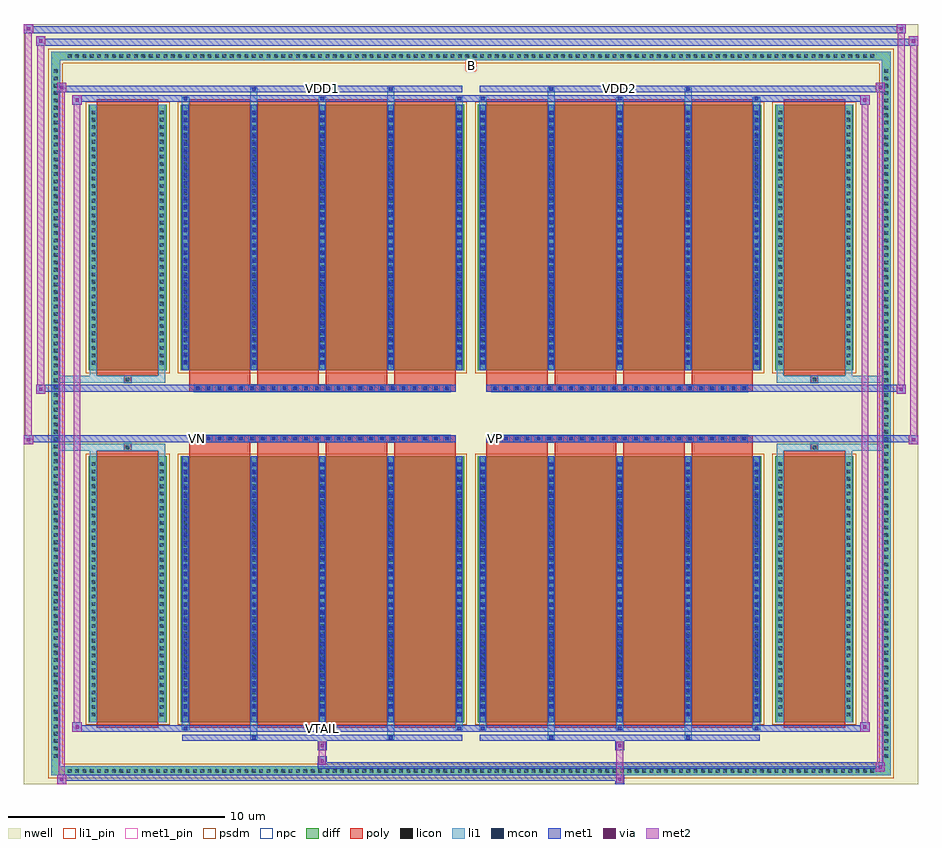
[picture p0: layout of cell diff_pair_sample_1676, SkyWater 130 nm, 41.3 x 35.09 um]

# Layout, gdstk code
import gdstk
lib = gdstk.Library(unit=1e-6, precision=5e-09)
def R(c, l, rs):  # rectangles x0, y0, x1, y1
    for r in rs: c.add(gdstk.rectangle(r[:2], r[2:], *l))
def A(c, l, x, y, w, h, nx, ny, dx, dy):  # array of equal rectangles
    R(c, l, [(x+i*dx, y+j*dy, x+i*dx+w, y+j*dy+h) for i in range(nx) for j in range(ny)])
def P(c, l, *ps):  # polygons
    for p in ps: c.add(gdstk.Polygon(p, *l))
nwell = (64, 20)
diff = (65, 20)
poly = (66, 20)
licon = (66, 44)
li1_pin = (67, 16)
li1 = (67, 20)
mcon = (67, 44)
met1_pin = (68, 16)
met1 = (68, 20)
via = (68, 44)
met2 = (69, 20)
psdm = (94, 20)
npc = (95, 20)

diff_pair_sample_1676 = lib.new_cell('diff_pair_sample_1676')
R(diff_pair_sample_1676, nwell, [(-20.65,-17.11,20.65,17.98), (-17.97,-15.3,-0.01,-0.8), (0.01,-15.3,17.97,-0.8), (-17.97,0.8,-0.01,15.3), (0.01,0.8,17.97,15.3)])
A(diff_pair_sample_1676, diff, -18.735, -16.71, 0.41, 0.41, 110, 2, 0.34, 33.01)
A(diff_pair_sample_1676, diff, -19.38, -16.015, 0.41, 0.41, 1, 94, 0, 0.34)
A(diff_pair_sample_1676, diff, 18.97, -16.015, 0.41, 0.41, 1, 94, 0, 0.34)
R(diff_pair_sample_1676, diff, [(-18.735,-16.71,18.735,-16.3), (-19.38,-16.015,-18.97,16.015), (18.97,-16.015,19.38,16.015), (-17.66,-14.255,-14.05,-1.985), (-13.41,-14.255,-0.32,-1.985), (0.32,-14.255,13.41,-1.985), (14.05,-14.255,17.66,-1.985), (-17.66,1.985,-14.05,14.255), (-13.41,1.985,-0.32,14.255), (0.32,1.985,13.41,14.255), (14.05,1.985,17.66,14.255), (-18.735,16.3,18.735,16.71)])
P(diff_pair_sample_1676, diff, [(19.38,16.71),(-19.38,16.71),(-19.38,-16.3),(-18.97,-16.3),(-18.97,16.3),(18.97,16.3),(18.97,-16.3),(-18.97,-16.3),(-19.38,-16.3),(-19.38,-16.71),(19.38,-16.71)])
A(diff_pair_sample_1676, poly, -13.02, -14.505, 2.83, 12.77, 4, 2, 3.16, 16.24)
A(diff_pair_sample_1676, poly, 0.71, -14.505, 2.83, 12.77, 4, 2, 3.16, 16.24)
A(diff_pair_sample_1676, poly, -13.02, -1.735, 2.83, 0.405, 4, 2, 3.16, 3.065)
A(diff_pair_sample_1676, poly, 0.71, -1.735, 2.83, 0.405, 4, 2, 3.16, 3.065)
A(diff_pair_sample_1676, poly, -12.78, -1.33, 0.33, 0.33, 24, 2, 0.5, 2.33)
A(diff_pair_sample_1676, poly, 0.95, -1.33, 0.33, 0.33, 24, 2, 0.5, 2.33)
R(diff_pair_sample_1676, poly, [(-17.27,-14.505,-14.44,-1.735), (14.44,-14.505,17.27,-1.735), (-16.02,-1.735,-15.69,-1.405), (-16.02,-1.735,-15.69,-1.405), (15.69,-1.735,16.02,-1.405), (15.69,-1.735,16.02,-1.405), (-13.02,-1.33,-0.71,-1), (0.71,-1.33,13.02,-1), (-13.02,1,-0.71,1.33), (0.71,1,13.02,1.33), (-16.02,1.405,-15.69,1.735), (-16.02,1.405,-15.69,1.735), (15.69,1.405,16.02,1.735), (15.69,1.405,16.02,1.735), (-17.27,1.735,-14.44,14.505), (14.44,1.735,17.27,14.505)])
A(diff_pair_sample_1676, licon, -18.615, -16.59, 0.17, 0.17, 110, 2, 0.34, 33.01)
A(diff_pair_sample_1676, licon, -19.26, -15.895, 0.17, 0.17, 1, 94, 0, 0.34)
A(diff_pair_sample_1676, licon, 19.09, -15.895, 0.17, 0.17, 1, 94, 0, 0.34)
A(diff_pair_sample_1676, licon, -17.52, -13.985, 0.17, 0.17, 1, 35, 0, 0.34)
A(diff_pair_sample_1676, licon, -14.36, -13.985, 0.17, 0.17, 1, 35, 0, 0.34)
A(diff_pair_sample_1676, licon, -13.27, -13.985, 0.17, 0.17, 5, 35, 3.16, 0.34)
A(diff_pair_sample_1676, licon, 0.46, -13.985, 0.17, 0.17, 5, 35, 3.16, 0.34)
A(diff_pair_sample_1676, licon, 14.19, -13.985, 0.17, 0.17, 1, 35, 0, 0.34)
A(diff_pair_sample_1676, licon, 17.35, -13.985, 0.17, 0.17, 1, 35, 0, 0.34)
A(diff_pair_sample_1676, licon, -12.7, -1.25, 0.17, 0.17, 24, 2, 0.5, 2.33)
A(diff_pair_sample_1676, licon, 1.03, -1.25, 0.17, 0.17, 24, 2, 0.5, 2.33)
A(diff_pair_sample_1676, licon, -17.52, 2.255, 0.17, 0.17, 1, 35, 0, 0.34)
A(diff_pair_sample_1676, licon, -14.36, 2.255, 0.17, 0.17, 1, 35, 0, 0.34)
A(diff_pair_sample_1676, licon, -13.27, 2.255, 0.17, 0.17, 5, 35, 3.16, 0.34)
A(diff_pair_sample_1676, licon, 0.46, 2.255, 0.17, 0.17, 5, 35, 3.16, 0.34)
A(diff_pair_sample_1676, licon, 14.19, 2.255, 0.17, 0.17, 1, 35, 0, 0.34)
A(diff_pair_sample_1676, licon, 17.35, 2.255, 0.17, 0.17, 1, 35, 0, 0.34)
R(diff_pair_sample_1676, licon, [(-15.94,-1.655,-15.77,-1.485), (15.77,-1.655,15.94,-1.485), (-15.94,1.485,-15.77,1.655), (15.77,1.485,15.94,1.655)])
R(diff_pair_sample_1676, li1_pin, [(-0.25,15.8,0.25,16.3)])
A(diff_pair_sample_1676, li1, -18.695, -16.67, 0.33, 0.33, 110, 2, 0.34, 33.01)
A(diff_pair_sample_1676, li1, -19.34, -15.975, 0.33, 0.33, 1, 94, 0, 0.34)
A(diff_pair_sample_1676, li1, 19.01, -15.975, 0.33, 0.33, 1, 94, 0, 0.34)
A(diff_pair_sample_1676, li1, -13.35, -14.63, 0.33, 0.375, 3, 2, 6.32, 28.885)
A(diff_pair_sample_1676, li1, -13.27, -14.63, 0.17, 0.17, 3, 2, 6.32, 29.09)
A(diff_pair_sample_1676, li1, 0.38, -14.63, 0.33, 0.375, 3, 2, 6.32, 28.885)
A(diff_pair_sample_1676, li1, 0.46, -14.63, 0.17, 0.17, 3, 2, 6.32, 29.09)
A(diff_pair_sample_1676, li1, -13.35, -14.255, 0.33, 12.27, 5, 2, 3.16, 16.24)
A(diff_pair_sample_1676, li1, 0.38, -14.255, 0.33, 12.27, 5, 2, 3.16, 16.24)
A(diff_pair_sample_1676, li1, -17.6, -14.065, 0.33, 0.33, 1, 35, 0, 0.34)
A(diff_pair_sample_1676, li1, -14.44, -14.065, 0.33, 0.33, 1, 35, 0, 0.34)
A(diff_pair_sample_1676, li1, -13.35, -14.065, 0.33, 0.33, 5, 35, 3.16, 0.34)
A(diff_pair_sample_1676, li1, 0.38, -14.065, 0.33, 0.33, 5, 35, 3.16, 0.34)
A(diff_pair_sample_1676, li1, 14.11, -14.065, 0.33, 0.33, 1, 35, 0, 0.34)
A(diff_pair_sample_1676, li1, 17.27, -14.065, 0.33, 0.33, 1, 35, 0, 0.34)
A(diff_pair_sample_1676, li1, -13.27, -13.965, 0.17, 0.17, 5, 33, 3.16, 0.36)
A(diff_pair_sample_1676, li1, -13.27, -13.965, 0.17, 11.69, 5, 2, 3.16, 16.24)
A(diff_pair_sample_1676, li1, 0.46, -13.965, 0.17, 0.17, 5, 33, 3.16, 0.36)
A(diff_pair_sample_1676, li1, 0.46, -13.965, 0.17, 11.69, 5, 2, 3.16, 16.24)
A(diff_pair_sample_1676, li1, -12.78, -1.33, 0.33, 0.33, 24, 2, 0.5, 2.33)
A(diff_pair_sample_1676, li1, 0.95, -1.33, 0.33, 0.33, 24, 2, 0.5, 2.33)
A(diff_pair_sample_1676, li1, -17.6, 2.175, 0.33, 0.33, 1, 35, 0, 0.34)
A(diff_pair_sample_1676, li1, -14.44, 2.175, 0.33, 0.33, 1, 35, 0, 0.34)
A(diff_pair_sample_1676, li1, -13.35, 2.175, 0.33, 0.33, 5, 35, 3.16, 0.34)
A(diff_pair_sample_1676, li1, 0.38, 2.175, 0.33, 0.33, 5, 35, 3.16, 0.34)
A(diff_pair_sample_1676, li1, 14.11, 2.175, 0.33, 0.33, 1, 35, 0, 0.34)
A(diff_pair_sample_1676, li1, 17.27, 2.175, 0.33, 0.33, 1, 35, 0, 0.34)
A(diff_pair_sample_1676, li1, -13.27, 2.275, 0.17, 0.17, 5, 33, 3.16, 0.36)
A(diff_pair_sample_1676, li1, 0.46, 2.275, 0.17, 0.17, 5, 33, 3.16, 0.36)
R(diff_pair_sample_1676, li1, [(-19.38,-16.71,-18.97,-16.3), (-19.38,-16.71,-18.97,-16.3), (-18.97,-16.71,18.97,-16.3), (18.97,-16.71,19.38,-16.3), (18.97,-16.71,19.38,-16.3), (-19.38,-16.3,-18.97,16.3), (18.97,-16.3,19.38,16.3), (-10.19,-15.06,-9.86,-14.255), (-10.11,-15.06,-9.94,-14.89), (-3.87,-15.06,-3.54,-14.255), (-3.79,-15.06,-3.62,-14.89), (3.54,-15.06,3.87,-14.255), (3.62,-15.06,3.79,-14.89), (9.86,-15.06,10.19,-14.255), (9.94,-15.06,10.11,-14.89), (-17.6,-14.255,-17.27,-1.985), (-14.44,-14.255,-14.11,-1.985), (14.11,-14.255,14.44,-1.985), (17.27,-14.255,17.6,-1.985), (-17.6,-1.985,-17.27,-1.405), (-14.44,-1.985,-14.11,-1.405), (14.11,-1.985,14.44,-1.405), (17.27,-1.985,17.6,-1.405), (-19.38,-1.735,-16.02,-1.405), (-17.6,-1.735,-16.02,-1.405), (-16.02,-1.735,-15.69,-1.405), (-15.69,-1.735,-14.11,-1.405), (14.11,-1.735,15.69,-1.405), (15.69,-1.735,16.02,-1.405), (15.69,-1.735,19.38,-1.405), (16.02,-1.735,17.6,-1.405), (-19.38,1.405,-16.02,1.735), (-17.6,1.405,-16.02,1.735), (-17.6,1.405,-17.27,1.985), (-16.02,1.405,-15.69,1.735), (-15.69,1.405,-14.11,1.735), (-14.44,1.405,-14.11,1.985), (14.11,1.405,15.69,1.735), (14.11,1.405,14.44,1.985), (15.69,1.405,16.02,1.735), (15.69,1.405,19.38,1.735), (16.02,1.405,17.6,1.735), (17.27,1.405,17.6,1.985), (-17.6,1.985,-17.27,14.255), (-14.44,1.985,-14.11,14.255), (14.11,1.985,14.44,14.255), (17.27,1.985,17.6,14.255), (-10.19,14.255,-9.86,15.06), (-3.87,14.255,-3.54,15.06), (3.54,14.255,3.87,15.06), (9.86,14.255,10.19,15.06), (-10.11,14.89,-9.94,15.06), (-3.79,14.89,-3.62,15.06), (3.62,14.89,3.79,15.06), (9.94,14.89,10.11,15.06), (-19.38,16.3,-18.97,16.71), (-19.38,16.3,-18.97,16.71), (-18.97,16.3,18.97,16.71), (18.97,16.3,19.38,16.71), (18.97,16.3,19.38,16.71)])
A(diff_pair_sample_1676, mcon, -13.27, -14.63, 0.17, 0.17, 3, 2, 6.32, 29.09)
A(diff_pair_sample_1676, mcon, 0.46, -14.63, 0.17, 0.17, 3, 2, 6.32, 29.09)
A(diff_pair_sample_1676, mcon, -13.27, -13.965, 0.17, 0.17, 5, 33, 3.16, 0.36)
A(diff_pair_sample_1676, mcon, 0.46, -13.965, 0.17, 0.17, 5, 33, 3.16, 0.36)
A(diff_pair_sample_1676, mcon, -12.7, -1.25, 0.17, 0.17, 24, 2, 0.5, 2.33)
A(diff_pair_sample_1676, mcon, 1.03, -1.25, 0.17, 0.17, 24, 2, 0.5, 2.33)
A(diff_pair_sample_1676, mcon, -13.27, 2.275, 0.17, 0.17, 5, 33, 3.16, 0.36)
A(diff_pair_sample_1676, mcon, 0.46, 2.275, 0.17, 0.17, 5, 33, 3.16, 0.36)
R(diff_pair_sample_1676, mcon, [(-10.11,-15.06,-9.94,-14.89), (-3.79,-15.06,-3.62,-14.89), (3.62,-15.06,3.79,-14.89), (9.94,-15.06,10.11,-14.89), (-10.11,14.89,-9.94,15.06), (-3.79,14.89,-3.62,15.06), (3.62,14.89,3.79,15.06), (9.94,14.89,10.11,15.06)])
R(diff_pair_sample_1676, met1_pin, [(-7,-14.67,-6.73,-14.4), (-12.75,-1.29,-12.48,-1.02), (0.98,-1.29,1.25,-1.02), (-7,14.85,-6.73,15.12), (6.73,14.85,7,15.12)])
A(diff_pair_sample_1676, met1, -13.33, -14.69, 0.29, 0.29, 3, 2, 6.32, 29.09)
A(diff_pair_sample_1676, met1, 0.4, -14.69, 0.29, 0.29, 3, 2, 6.32, 29.09)
A(diff_pair_sample_1676, met1, -13.33, -14.255, 0.29, 12.27, 5, 2, 3.16, 16.24)
A(diff_pair_sample_1676, met1, 0.4, -14.255, 0.29, 12.27, 5, 2, 3.16, 16.24)
A(diff_pair_sample_1676, met1, -13.33, -14.025, 0.29, 0.29, 5, 33, 3.16, 0.36)
A(diff_pair_sample_1676, met1, 0.4, -14.025, 0.29, 0.29, 5, 33, 3.16, 0.36)
A(diff_pair_sample_1676, met1, -12.76, -1.31, 0.29, 0.29, 24, 2, 0.5, 2.33)
A(diff_pair_sample_1676, met1, 0.97, -1.31, 0.29, 0.29, 24, 2, 0.5, 2.33)
A(diff_pair_sample_1676, met1, -13.33, 2.215, 0.29, 0.29, 5, 33, 3.16, 0.36)
A(diff_pair_sample_1676, met1, 0.4, 2.215, 0.29, 0.29, 5, 33, 3.16, 0.36)
R(diff_pair_sample_1676, met1, [(-19.11,-17.11,-18.68,-16.68), (6.65,-17.11,7.08,-16.68), (-19.11,-16.97,7.08,-16.68), (18.68,-16.54,19.11,-16.11), (-7.08,-16.4,19.11,-16.11), (-7.08,-16.26,-6.65,-15.83), (-7.08,-15.55,-6.65,-15.12), (6.65,-15.55,7.08,-15.12), (-13.33,-15.12,-0.4,-14.83), (-10.17,-15.12,-9.88,-14.83), (-3.85,-15.12,-3.56,-14.83), (0.4,-15.12,13.33,-14.83), (3.56,-15.12,3.85,-14.83), (9.88,-15.12,10.17,-14.83), (-18.4,-14.69,-17.97,-14.26), (-18.4,-14.69,-13.33,-14.4), (-13.33,-14.69,-0.4,-14.4), (-0.4,-14.69,0.4,-14.4), (0.4,-14.69,13.33,-14.4), (13.33,-14.69,18.4,-14.4), (17.97,-14.69,18.4,-14.26), (-20.65,-1.43,-20.22,-1), (20.22,-1.43,20.65,-1), (-20.65,-1.33,-0.71,-1), (-13.02,-1.33,-0.71,-1), (0.71,-1.33,13.02,-1), (0.71,-1.33,20.65,-1), (-20.08,0.9,-19.65,1.33), (19.65,0.9,20.08,1.33), (-20.08,1,-13.02,1.33), (-13.02,1,-0.71,1.33), (0.71,1,13.02,1.33), (13.02,1,20.08,1.33), (-18.4,14.26,-17.97,14.69), (17.97,14.26,18.4,14.69), (-18.4,14.4,-13.33,14.69), (-13.33,14.4,-0.4,14.69), (-0.4,14.4,0.4,14.69), (0.4,14.4,13.33,14.69), (13.33,14.4,18.4,14.69), (-19.11,14.83,-18.68,15.26), (-19.11,14.83,-13.33,15.12), (-13.33,14.83,-0.4,15.12), (-10.17,14.83,-9.88,15.12), (-3.85,14.83,-3.56,15.12), (0.4,14.83,13.33,15.12), (3.56,14.83,3.85,15.12), (9.88,14.83,10.17,15.12), (13.33,14.83,19.11,15.12), (18.68,14.83,19.11,15.26), (-20.08,16.98,-19.65,17.41), (-20.08,16.98,-17.97,17.31), (-17.97,16.98,17.97,17.31), (17.97,16.98,20.65,17.31), (20.22,16.98,20.65,17.41), (-20.65,17.55,-20.22,17.98), (-20.65,17.55,-17.97,17.88), (-17.97,17.55,17.97,17.88), (17.97,17.55,20.08,17.88), (19.65,17.55,20.08,17.98)])
R(diff_pair_sample_1676, via, [(-18.97,-16.97,-18.82,-16.82), (6.79,-16.97,6.94,-16.82), (18.82,-16.4,18.97,-16.25), (-6.94,-16.12,-6.79,-15.97), (-6.94,-15.41,-6.79,-15.26), (6.79,-15.41,6.94,-15.26), (-18.26,-14.55,-18.11,-14.4), (18.11,-14.55,18.26,-14.4), (-20.51,-1.29,-20.36,-1.14), (20.36,-1.29,20.51,-1.14), (-19.94,1.04,-19.79,1.19), (19.79,1.04,19.94,1.19), (-18.26,14.4,-18.11,14.55), (18.11,14.4,18.26,14.55), (-18.97,14.97,-18.82,15.12), (18.82,14.97,18.97,15.12), (-19.94,17.12,-19.79,17.27), (20.36,17.12,20.51,17.27), (-20.51,17.69,-20.36,17.84), (19.79,17.69,19.94,17.84)])
R(diff_pair_sample_1676, met2, [(-19.11,-17.11,-18.68,-16.68), (-19.04,-17.11,-18.75,15.26), (-18.75,-17.11,-18.68,-16.68), (-19.06,-17.06,-18.73,-16.73), (6.7,-17.06,7.03,-16.73), (6.7,-16.73,7.03,-15.5), (18.68,-16.54,19.11,-16.11), (18.75,-16.54,19.04,15.26), (19.04,-16.54,19.11,-16.11), (18.73,-16.49,19.06,-16.16), (-7.03,-16.21,-6.7,-15.88), (-7.03,-15.88,-6.7,-15.5), (-7.03,-15.5,-6.7,-15.17), (6.7,-15.5,7.03,-15.17), (-18.4,-14.69,-17.97,-14.26), (-18.33,-14.69,-18.04,14.69), (-18.04,-14.69,-17.97,-14.26), (17.97,-14.69,18.4,-14.26), (18.04,-14.69,18.33,14.69), (18.33,-14.69,18.4,-14.26), (-18.35,-14.64,-18.02,-14.31), (18.02,-14.64,18.35,-14.31), (-20.65,-1.43,-20.22,-1), (-20.6,-1.43,-20.27,17.98), (-20.27,-1.43,-20.22,-1), (20.22,-1.43,20.65,-1), (20.27,-1.43,20.6,17.41), (20.6,-1.43,20.65,-1), (-20.6,-1.38,-20.27,-1.05), (20.27,-1.38,20.6,-1.05), (-20.08,0.9,-19.65,1.33), (-20.03,0.9,-19.7,17.41), (-19.7,0.9,-19.65,1.33), (19.65,0.9,20.08,1.33), (19.7,0.9,20.03,17.98), (20.03,0.9,20.08,1.33), (-20.03,0.95,-19.7,1.28), (19.7,0.95,20.03,1.28), (-18.4,14.26,-17.97,14.69), (-18.04,14.26,-17.97,14.69), (17.97,14.26,18.4,14.69), (18.33,14.26,18.4,14.69), (-18.35,14.31,-18.02,14.64), (18.02,14.31,18.35,14.64), (-19.11,14.83,-18.68,15.26), (-18.75,14.83,-18.68,15.26), (18.68,14.83,19.11,15.26), (19.04,14.83,19.11,15.26), (-19.06,14.88,-18.73,15.21), (18.73,14.88,19.06,15.21), (-20.08,16.98,-19.65,17.41), (-19.7,16.98,-19.65,17.41), (20.22,16.98,20.65,17.41), (20.6,16.98,20.65,17.41), (-20.03,17.03,-19.7,17.36), (20.27,17.03,20.6,17.36), (-20.65,17.55,-20.22,17.98), (-20.27,17.55,-20.22,17.98), (19.65,17.55,20.08,17.98), (20.03,17.55,20.08,17.98), (-20.6,17.6,-20.27,17.93), (19.7,17.6,20.03,17.93)])
R(diff_pair_sample_1676, psdm, [(-17.79,-14.385,-13.92,-1.855), (-13.54,-14.385,-0.19,-1.855), (0.19,-14.385,13.54,-1.855), (13.92,-14.385,17.79,-1.855), (-17.79,1.855,-13.92,14.385), (-13.54,1.855,-0.19,14.385), (0.19,1.855,13.54,14.385), (13.92,1.855,17.79,14.385)])
P(diff_pair_sample_1676, psdm, [(19.51,16.84),(-19.51,16.84),(-19.51,-16.17),(-18.84,-16.17),(-18.84,16.17),(18.84,16.17),(18.84,-16.17),(-18.84,-16.17),(-19.51,-16.17),(-19.51,-16.84),(19.51,-16.84)])
A(diff_pair_sample_1676, npc, -12.8, -1.35, 0.37, 0.37, 24, 2, 0.5, 2.33)
A(diff_pair_sample_1676, npc, 0.93, -1.35, 0.37, 0.37, 24, 2, 0.5, 2.33)
R(diff_pair_sample_1676, npc, [(-16.04,-1.755,-15.67,-1.385), (15.67,-1.755,16.04,-1.385), (-12.8,-1.35,-11.93,-0.98), (-12.8,-1.35,-11.93,-0.98), (-12.3,-1.35,-11.43,-0.98), (-12.3,-1.35,-11.43,-0.98), (-11.8,-1.35,-10.93,-0.98), (-11.8,-1.35,-10.93,-0.98), (-11.3,-1.35,-10.43,-0.98), (-11.3,-1.35,-10.43,-0.98), (-10.8,-1.35,-9.93,-0.98), (-10.8,-1.35,-9.93,-0.98), (-10.3,-1.35,-9.43,-0.98), (-10.3,-1.35,-9.43,-0.98), (-9.8,-1.35,-8.93,-0.98), (-9.8,-1.35,-8.93,-0.98), (-9.3,-1.35,-8.43,-0.98), (-9.3,-1.35,-8.43,-0.98), (-8.8,-1.35,-7.93,-0.98), (-8.8,-1.35,-7.93,-0.98), (-8.3,-1.35,-7.43,-0.98), (-8.3,-1.35,-7.43,-0.98), (-7.8,-1.35,-6.93,-0.98), (-7.8,-1.35,-6.93,-0.98), (-7.3,-1.35,-6.43,-0.98), (-7.3,-1.35,-6.43,-0.98), (-6.8,-1.35,-5.93,-0.98), (-6.8,-1.35,-5.93,-0.98), (-6.3,-1.35,-5.43,-0.98), (-6.3,-1.35,-5.43,-0.98), (-5.8,-1.35,-4.93,-0.98), (-5.8,-1.35,-4.93,-0.98), (-5.3,-1.35,-4.43,-0.98), (-5.3,-1.35,-4.43,-0.98), (-4.8,-1.35,-3.93,-0.98), (-4.8,-1.35,-3.93,-0.98), (-4.3,-1.35,-3.43,-0.98), (-4.3,-1.35,-3.43,-0.98), (-3.8,-1.35,-2.93,-0.98), (-3.8,-1.35,-2.93,-0.98), (-3.3,-1.35,-2.43,-0.98), (-3.3,-1.35,-2.43,-0.98), (-2.8,-1.35,-1.93,-0.98), (-2.8,-1.35,-1.93,-0.98), (-2.3,-1.35,-1.43,-0.98), (-2.3,-1.35,-1.43,-0.98), (-1.8,-1.35,-0.93,-0.98), (-1.8,-1.35,-0.93,-0.98), (0.93,-1.35,1.8,-0.98), (0.93,-1.35,1.8,-0.98), (1.43,-1.35,2.3,-0.98), (1.43,-1.35,2.3,-0.98), (1.93,-1.35,2.8,-0.98), (1.93,-1.35,2.8,-0.98), (2.43,-1.35,3.3,-0.98), (2.43,-1.35,3.3,-0.98), (2.93,-1.35,3.8,-0.98), (2.93,-1.35,3.8,-0.98), (3.43,-1.35,4.3,-0.98), (3.43,-1.35,4.3,-0.98), (3.93,-1.35,4.8,-0.98), (3.93,-1.35,4.8,-0.98), (4.43,-1.35,5.3,-0.98), (4.43,-1.35,5.3,-0.98), (4.93,-1.35,5.8,-0.98), (4.93,-1.35,5.8,-0.98), (5.43,-1.35,6.3,-0.98), (5.43,-1.35,6.3,-0.98), (5.93,-1.35,6.8,-0.98), (5.93,-1.35,6.8,-0.98), (6.43,-1.35,7.3,-0.98), (6.43,-1.35,7.3,-0.98), (6.93,-1.35,7.8,-0.98), (6.93,-1.35,7.8,-0.98), (7.43,-1.35,8.3,-0.98), (7.43,-1.35,8.3,-0.98), (7.93,-1.35,8.8,-0.98), (7.93,-1.35,8.8,-0.98), (8.43,-1.35,9.3,-0.98), (8.43,-1.35,9.3,-0.98), (8.93,-1.35,9.8,-0.98), (8.93,-1.35,9.8,-0.98), (9.43,-1.35,10.3,-0.98), (9.43,-1.35,10.3,-0.98), (9.93,-1.35,10.8,-0.98), (9.93,-1.35,10.8,-0.98), (10.43,-1.35,11.3,-0.98), (10.43,-1.35,11.3,-0.98), (10.93,-1.35,11.8,-0.98), (10.93,-1.35,11.8,-0.98), (11.43,-1.35,12.3,-0.98), (11.43,-1.35,12.3,-0.98), (11.93,-1.35,12.8,-0.98), (11.93,-1.35,12.8,-0.98), (-12.8,0.98,-11.93,1.35), (-12.8,0.98,-11.93,1.35), (-12.3,0.98,-11.43,1.35), (-12.3,0.98,-11.43,1.35), (-11.8,0.98,-10.93,1.35), (-11.8,0.98,-10.93,1.35), (-11.3,0.98,-10.43,1.35), (-11.3,0.98,-10.43,1.35), (-10.8,0.98,-9.93,1.35), (-10.8,0.98,-9.93,1.35), (-10.3,0.98,-9.43,1.35), (-10.3,0.98,-9.43,1.35), (-9.8,0.98,-8.93,1.35), (-9.8,0.98,-8.93,1.35), (-9.3,0.98,-8.43,1.35), (-9.3,0.98,-8.43,1.35), (-8.8,0.98,-7.93,1.35), (-8.8,0.98,-7.93,1.35), (-8.3,0.98,-7.43,1.35), (-8.3,0.98,-7.43,1.35), (-7.8,0.98,-6.93,1.35), (-7.8,0.98,-6.93,1.35), (-7.3,0.98,-6.43,1.35), (-7.3,0.98,-6.43,1.35), (-6.8,0.98,-5.93,1.35), (-6.8,0.98,-5.93,1.35), (-6.3,0.98,-5.43,1.35), (-6.3,0.98,-5.43,1.35), (-5.8,0.98,-4.93,1.35), (-5.8,0.98,-4.93,1.35), (-5.3,0.98,-4.43,1.35), (-5.3,0.98,-4.43,1.35), (-4.8,0.98,-3.93,1.35), (-4.8,0.98,-3.93,1.35), (-4.3,0.98,-3.43,1.35), (-4.3,0.98,-3.43,1.35), (-3.8,0.98,-2.93,1.35), (-3.8,0.98,-2.93,1.35), (-3.3,0.98,-2.43,1.35), (-3.3,0.98,-2.43,1.35), (-2.8,0.98,-1.93,1.35), (-2.8,0.98,-1.93,1.35), (-2.3,0.98,-1.43,1.35), (-2.3,0.98,-1.43,1.35), (-1.8,0.98,-0.93,1.35), (-1.8,0.98,-0.93,1.35), (0.93,0.98,1.8,1.35), (0.93,0.98,1.8,1.35), (1.43,0.98,2.3,1.35), (1.43,0.98,2.3,1.35), (1.93,0.98,2.8,1.35), (1.93,0.98,2.8,1.35), (2.43,0.98,3.3,1.35), (2.43,0.98,3.3,1.35), (2.93,0.98,3.8,1.35), (2.93,0.98,3.8,1.35), (3.43,0.98,4.3,1.35), (3.43,0.98,4.3,1.35), (3.93,0.98,4.8,1.35), (3.93,0.98,4.8,1.35), (4.43,0.98,5.3,1.35), (4.43,0.98,5.3,1.35), (4.93,0.98,5.8,1.35), (4.93,0.98,5.8,1.35), (5.43,0.98,6.3,1.35), (5.43,0.98,6.3,1.35), (5.93,0.98,6.8,1.35), (5.93,0.98,6.8,1.35), (6.43,0.98,7.3,1.35), (6.43,0.98,7.3,1.35), (6.93,0.98,7.8,1.35), (6.93,0.98,7.8,1.35), (7.43,0.98,8.3,1.35), (7.43,0.98,8.3,1.35), (7.93,0.98,8.8,1.35), (7.93,0.98,8.8,1.35), (8.43,0.98,9.3,1.35), (8.43,0.98,9.3,1.35), (8.93,0.98,9.8,1.35), (8.93,0.98,9.8,1.35), (9.43,0.98,10.3,1.35), (9.43,0.98,10.3,1.35), (9.93,0.98,10.8,1.35), (9.93,0.98,10.8,1.35), (10.43,0.98,11.3,1.35), (10.43,0.98,11.3,1.35), (10.93,0.98,11.8,1.35), (10.93,0.98,11.8,1.35), (11.43,0.98,12.3,1.35), (11.43,0.98,12.3,1.35), (11.93,0.98,12.8,1.35), (11.93,0.98,12.8,1.35), (-16.04,1.385,-15.67,1.755), (15.67,1.385,16.04,1.755)])
diff_pair_sample_1676.add(gdstk.Label('VTAIL', (-6.865,-14.535), layer=68, texttype=5))
diff_pair_sample_1676.add(gdstk.Label('VN', (-12.615,-1.155), layer=68, texttype=5))
diff_pair_sample_1676.add(gdstk.Label('VP', (1.115,-1.155), layer=68, texttype=5))
diff_pair_sample_1676.add(gdstk.Label('B', (0,16.05), layer=67, texttype=5))
diff_pair_sample_1676.add(gdstk.Label('VDD2', (6.865,14.985), layer=68, texttype=5))
diff_pair_sample_1676.add(gdstk.Label('VDD1', (-6.865,14.985), layer=68, texttype=5))

lib.write_gds('diff_pair_sample_1676.gds')
